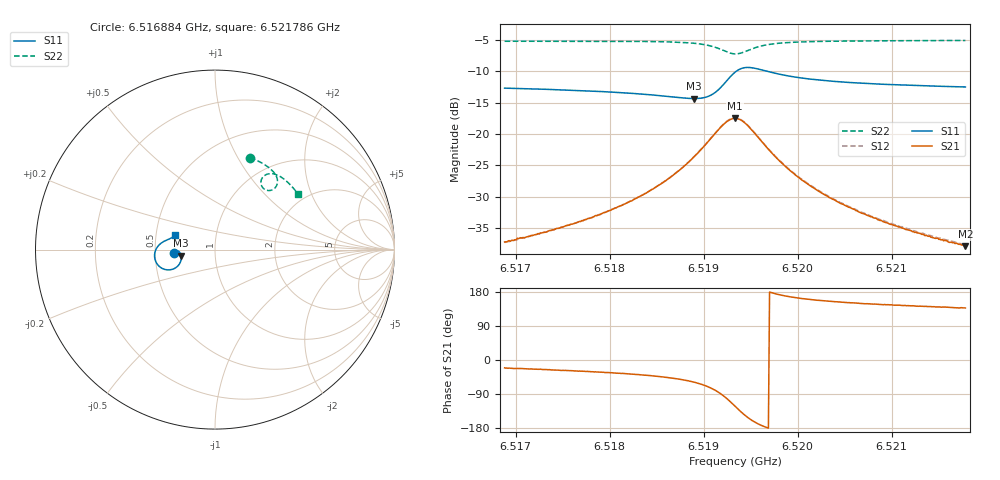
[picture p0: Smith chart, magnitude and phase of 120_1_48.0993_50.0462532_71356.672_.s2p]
#  HZ  S  RI  R  50.00
! Rohde & Schwarz Vector Network Analyzer
! Rohde-Schwarz,ZNB20-2Port,1311601062101988,3.16
! Created: UTC 12/23/2023, 3:46:39 AM
! freq[Hz]  re:S11  im:S11  re:S21  im:S21  re:S12  im:S12  re:S22  im:S22
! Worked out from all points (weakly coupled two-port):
!   401 points, 6.516884 GHz to 6.521786 GHz, reference 50 ohm
!   highest |S21| = -17.51 dB at 6.519335 GHz (marker M1); lowest = -37.9 dB at 6.521786 GHz (marker M2)
!   lowest |S11| = -14.3 dB at 6.518894 GHz (marker M3), VSWR 1.47, Z = 34.1 - j2.35 ohm
!   |S11| at or under -10 dB: start of sweep to 6.519348 GHz; 6.519676 GHz to end of sweep
!   |S22| runs from -7.2 to -5.1 dB; largest |S21 - S12| = 0.0041
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6.5168837e9  -0.2312 -0.0195  0.0129 -0.00491  0.0129 -0.00451  0.195 0.5121
6.5173127e9  -0.2269 -0.0128  0.0149 -0.007  0.0151 -0.00659  0.2269 0.4994
6.5177049e9  -0.2214 -0.00814  0.0178 -0.01  0.018 -0.00945  0.2558 0.4852
6.5181583e9  -0.2127 -0.0056  0.0224 -0.0162  0.0229 -0.0155  0.2899 0.4645
6.518526e9  -0.2023 -0.00953  0.0284 -0.027  0.0293 -0.0261  0.3183 0.4413
6.5187221e9  -0.1951 -0.0177  0.0322 -0.0382  0.0336 -0.0373  0.3333 0.4235
6.5188936e9  -0.1888 -0.0333  0.0343 -0.0554  0.0363 -0.0546  0.3449 0.4009
6.5190162e9  -0.1883 -0.0536  0.0312 -0.0753  0.0337 -0.0749  0.3482 0.3784
6.519102e9  -0.1951 -0.0744  0.022 -0.0942  0.0249 -0.0943  0.3439 0.3583
6.5192368e9  -0.2363 -0.1095  -0.0203 -0.122  -0.0168 -0.1235  0.3125 0.3305
6.5192858e9  -0.2632 -0.113  -0.0452 -0.1226  -0.0418 -0.1249  0.2931 0.3294
6.5193348e9  -0.2921 -0.1058  -0.0703 -0.1132  -0.0674 -0.1161  0.2742 0.3373
6.5193961e9  -0.3211 -0.0822  -0.0935 -0.0893  -0.0915 -0.0929  0.2587 0.3572
6.5194574e9  -0.3351 -0.0512  -0.1024 -0.061  -0.1013 -0.0644  0.2561 0.3803
6.5195554e9  -0.3327 -0.00858  -0.0958 -0.0251  -0.0959 -0.0281  0.27 0.4075
6.5196657e9  -0.3169 0.0199  -0.0792 -0.00336  -0.0798 -0.00565  0.2927 0.4206
6.5199109e9  -0.2859 0.0451  -0.0507 0.0115  -0.0516 0.01  0.3327 0.4203
6.520156e9  -0.2673 0.0539  -0.0352 0.0134  -0.0361 0.0125  0.3597 0.409
6.5205114e9  -0.2515 0.0607  -0.0237 0.0127  -0.0243 0.0121  0.3888 0.3891
6.5209771e9  -0.2386 0.0676  -0.0158 0.0109  -0.0164 0.0107  0.4186 0.3617
6.5214428e9  -0.2293 0.074  -0.0115 0.00948  -0.012 0.00949  0.4438 0.3336
6.5217859e9  -0.2237 0.0789  -0.00939 0.00867  -0.0098 0.0087  0.4604 0.3122
